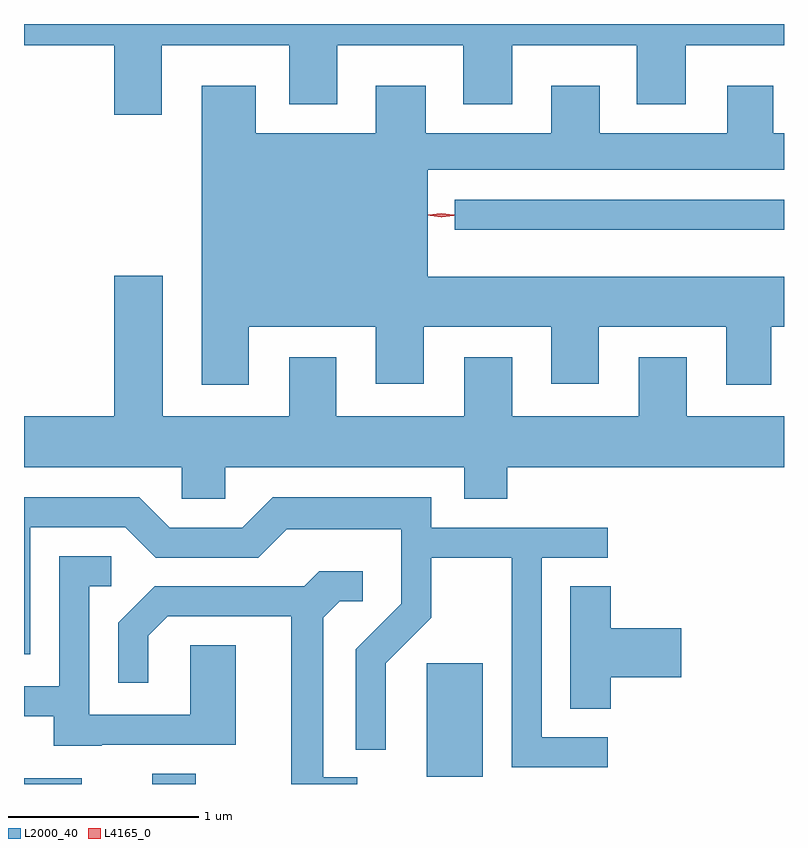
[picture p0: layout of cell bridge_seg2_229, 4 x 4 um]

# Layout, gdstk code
import gdstk
lib = gdstk.Library(unit=1e-6, precision=1e-09)
def R(c, l, rs):  # rectangles x0, y0, x1, y1
    for r in rs: c.add(gdstk.rectangle(r[:2], r[2:], *l))
def P(c, l, *ps):  # polygons
    for p in ps: c.add(gdstk.Polygon(p, *l))
L2000_40 = (2000, 40)
L4165_0 = (4165, 0)

bridge_seg2_229 = lib.new_cell('bridge_seg2_229')
R(bridge_seg2_229, L2000_40, [(600.165,1055.529,600.468,1055.559), (600.841,1055.529,601.069,1055.584), (602.286,1055.566,602.579,1056.164), (602.433,1058.446,604.165,1058.604)])
P(bridge_seg2_229, L2000_40, [(600.889,1059.416),(601.561,1059.416),(601.561,1059.106),(601.814,1059.106),(601.814,1059.416),(602.476,1059.416),(602.476,1059.106),(602.734,1059.106),(602.734,1059.416),(603.391,1059.416),(603.391,1059.106),(603.649,1059.106),(603.649,1059.416),(604.165,1059.416),(604.165,1059.529),(600.165,1059.529),(600.165,1059.416),(600.641,1059.416),(600.641,1059.051),(600.889,1059.051)],
  [(601.349,1057.936),(602.016,1057.936),(602.016,1057.636),(602.269,1057.636),(602.269,1057.936),(602.941,1057.936),(602.941,1057.636),(603.189,1057.636),(603.189,1057.936),(603.861,1057.936),(603.861,1057.631),(604.099,1057.631),(604.099,1057.936),(604.165,1057.936),(604.165,1058.199),(602.289,1058.199),(602.289,1058.761),(604.165,1058.761),(604.165,1058.954),(604.109,1058.954),(604.109,1059.204),(603.866,1059.204),(603.866,1058.954),(603.194,1058.954),(603.194,1059.204),(602.941,1059.204),(602.941,1058.954),(602.279,1058.954),(602.279,1059.204),(602.016,1059.204),(602.016,1058.954),(601.384,1058.954),(601.384,1059.204),(601.101,1059.204),(601.101,1057.631),(601.349,1057.631)],
  [(601.224,1057.196),(602.481,1057.196),(602.481,1057.031),(602.709,1057.031),(602.709,1057.196),(604.165,1057.196),(604.165,1057.464),(603.654,1057.464),(603.654,1057.774),(603.401,1057.774),(603.401,1057.464),(602.734,1057.464),(602.734,1057.774),(602.481,1057.774),(602.481,1057.464),(601.809,1057.464),(601.809,1057.774),(601.561,1057.774),(601.561,1057.464),(600.894,1057.464),(600.894,1058.204),(600.641,1058.204),(600.641,1057.464),(600.165,1057.464),(600.165,1057.196),(600.996,1057.196),(600.996,1057.031),(601.224,1057.031)],
  [(603.238,1055.774),(602.889,1055.774),(602.889,1056.721),(603.238,1056.721),(603.238,1056.879),(602.309,1056.879),(602.309,1057.039),(601.474,1057.039),(601.314,1056.879),(600.932,1056.879),(600.772,1057.039),(600.165,1057.039),(600.165,1056.211),(600.199,1056.211),(600.199,1056.881),(600.699,1056.881),(600.859,1056.721),(601.397,1056.721),(601.547,1056.871),(602.151,1056.871),(602.151,1056.477),(601.911,1056.237),(601.911,1055.708),(602.069,1055.708),(602.069,1056.164),(602.309,1056.404),(602.309,1056.721),(602.731,1056.721),(602.731,1055.616),(603.238,1055.616)],
  [(600.575,1055.736),(601.279,1055.736),(601.279,1056.259),(601.041,1056.259),(601.041,1055.894),(600.509,1055.894),(600.509,1056.571),(600.623,1056.571),(600.623,1056.729),(600.351,1056.729),(600.351,1056.044),(600.165,1056.044),(600.165,1055.886),(600.321,1055.886),(600.321,1055.731),(600.575,1055.731)],
  [(601.918,1055.564),(601.739,1055.564),(601.739,1056.404),(601.827,1056.491),(601.948,1056.491),(601.948,1056.649),(601.719,1056.649),(601.639,1056.569),(600.854,1056.569),(600.661,1056.377),(600.661,1056.063),(600.819,1056.063),(600.819,1056.309),(600.922,1056.411),(601.571,1056.411),(601.571,1055.529),(601.918,1055.529)],
  [(603.254,1056.091),(603.624,1056.091),(603.624,1056.349),(603.254,1056.349),(603.254,1056.569),(603.041,1056.569),(603.041,1055.926),(603.254,1055.926)])
P(bridge_seg2_229, L4165_0, [(602.364,1058.511),(602.302,1058.52),(602.302,1058.52),(602.302,1058.521),(602.364,1058.531),(602.426,1058.522),(602.427,1058.521),(602.426,1058.52)],
  [(602.361,1058.513),(602.293,1058.522),(602.292,1058.523),(602.293,1058.524),(602.361,1058.533),(602.43,1058.524),(602.43,1058.523),(602.43,1058.522)])

lib.write_gds('bridge_seg2_229.gds')
